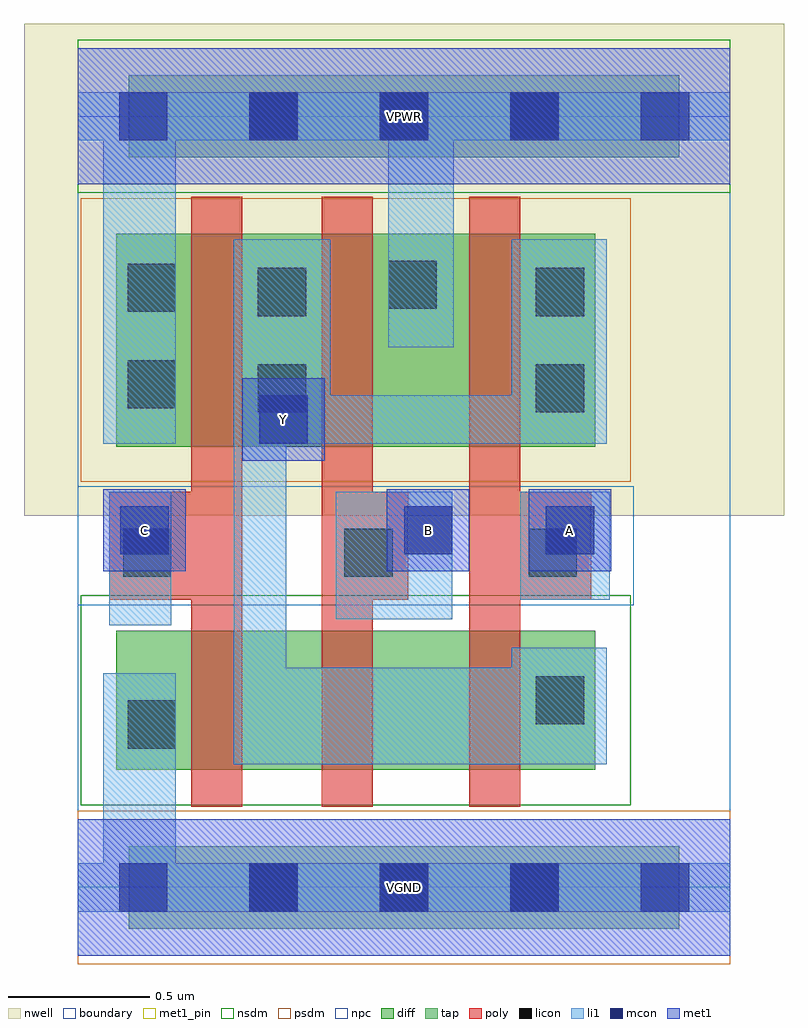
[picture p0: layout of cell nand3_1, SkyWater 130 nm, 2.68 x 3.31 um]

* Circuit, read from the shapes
.subckt nand3_1 A B C VGND VPWR Y
XM1 n1 C VGND VGND sky130_fd_pr__nfet_01v8 w=0.49 l=0.18
XM2 n2 B n1 VGND sky130_fd_pr__nfet_01v8 w=0.49 l=0.18
XM3 Y A n2 VGND sky130_fd_pr__nfet_01v8 w=0.49 l=0.18
XM4 Y C VPWR VPWR sky130_fd_pr__pfet_01v8 w=0.75 l=0.18
XM5 VPWR B Y VPWR sky130_fd_pr__pfet_01v8 w=0.75 l=0.18
XM6 Y A VPWR VPWR sky130_fd_pr__pfet_01v8 w=0.75 l=0.18
.ends

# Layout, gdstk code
import gdstk
lib = gdstk.Library(unit=1e-6, precision=1e-09)
def R(c, l, rs):  # rectangles x0, y0, x1, y1
    for r in rs: c.add(gdstk.rectangle(r[:2], r[2:], *l))
def A(c, l, x, y, w, h, nx, ny, dx, dy):  # array of equal rectangles
    R(c, l, [(x+i*dx, y+j*dy, x+i*dx+w, y+j*dy+h) for i in range(nx) for j in range(ny)])
nwell = (64, 20)
diff = (65, 20)
tap = (65, 44)
poly = (66, 20)
licon = (66, 44)
li1 = (67, 20)
mcon = (67, 44)
met1_pin = (68, 16)
met1 = (68, 20)
nsdm = (93, 44)
psdm = (94, 20)
npc = (95, 20)
boundary = (235, 4)

nand3_1 = lib.new_cell('nand3_1')
R(nand3_1, nwell, [(-0.19,1.31,2.49,3.045), (0,1.31,2.3,3.045)])
R(nand3_1, diff, [(0.135,0.415,1.825,0.905), (0.135,1.555,1.825,2.305)])
R(nand3_1, tap, [(0.18,-0.145,2.12,0.145), (0.18,2.575,2.12,2.865)])
R(nand3_1, poly, [(0.4,0.285,0.58,2.435), (0.86,0.285,1.04,2.435), (1.38,0.285,1.56,2.435), (0.11,1.015,0.58,1.395), (0.86,1.015,1.165,1.395), (1.38,1.015,1.81,1.395)])
A(nand3_1, licon, 0.605, -0.085, 0.17, 0.17, 3, 2, 0.46, 2.72)
R(nand3_1, licon, [(0.175,0.49,0.345,0.66), (1.615,0.575,1.785,0.745), (0.16,1.095,0.33,1.265), (0.94,1.095,1.11,1.265), (1.59,1.095,1.76,1.265), (0.635,1.675,0.805,1.845), (1.615,1.675,1.785,1.845), (0.175,1.69,0.345,1.86), (0.635,2.015,0.805,2.185), (1.615,2.015,1.785,2.185), (0.175,2.03,0.345,2.2), (1.095,2.04,1.265,2.21)])
R(nand3_1, li1, [(0,-0.085,2.3,0.085), (0.09,-0.085,0.345,0.755), (0.55,0.435,1.865,0.775), (0.55,0.435,0.735,2.285), (1.53,0.435,1.865,0.845), (0.11,0.925,0.33,1.395), (0.91,0.945,1.32,1.395), (1.56,1.015,1.875,1.395), (0.09,1.565,0.345,2.805), (0.55,1.565,0.89,2.285), (0.55,1.565,1.865,1.735), (1.53,1.565,1.865,2.285), (1.095,1.905,1.325,2.805), (0,2.635,2.3,2.805)])
A(nand3_1, mcon, 0.145, -0.085, 0.17, 0.17, 5, 2, 0.46, 2.72)
R(nand3_1, mcon, [(0.15,1.175,0.32,1.345), (1.15,1.175,1.32,1.345), (1.65,1.175,1.82,1.345), (0.64,1.565,0.81,1.735)])
R(nand3_1, met1_pin, [(0,-0.24,2.3,0.24), (0.09,1.115,0.38,1.405), (1.09,1.115,1.38,1.405), (1.59,1.115,1.88,1.405), (0.58,1.505,0.87,1.795), (0,2.48,2.3,2.96)])
R(nand3_1, met1, [(0,-0.24,2.3,0.24), (0.09,1.115,0.38,1.405), (1.09,1.115,1.38,1.405), (1.59,1.115,1.88,1.405), (0.58,1.505,0.87,1.795), (0,2.48,2.3,2.96)])
R(nand3_1, nsdm, [(0.01,0.29,1.95,1.03), (0,2.45,2.3,2.99)])
R(nand3_1, psdm, [(0,-0.27,2.3,0.27), (0.01,1.43,1.95,2.43)])
R(nand3_1, npc, [(0,0.995,1.96,1.415)])
R(nand3_1, boundary, [(0,0,2.3,2.72)])
nand3_1.add(gdstk.Label('A', (1.735,1.26), layer=68, texttype=5))
nand3_1.add(gdstk.Label('B', (1.235,1.26), layer=68, texttype=5))
nand3_1.add(gdstk.Label('C', (0.235,1.26), layer=68, texttype=5))
nand3_1.add(gdstk.Label('Y', (0.725,1.65), layer=68, texttype=5))
nand3_1.add(gdstk.Label('VPWR', (1.15,2.72), layer=68, texttype=5))
nand3_1.add(gdstk.Label('VGND', (1.15,0), layer=68, texttype=5))
nand3_1.add(gdstk.Label('A', (1.735,1.26), layer=68, texttype=16))
nand3_1.add(gdstk.Label('B', (1.235,1.26), layer=68, texttype=16))
nand3_1.add(gdstk.Label('C', (0.235,1.26), layer=68, texttype=16))
nand3_1.add(gdstk.Label('Y', (0.725,1.65), layer=68, texttype=16))
nand3_1.add(gdstk.Label('VPWR', (1.15,2.72), layer=68, texttype=16))
nand3_1.add(gdstk.Label('VGND', (1.15,0), layer=68, texttype=16))

lib.write_gds('nand3_1.gds')
